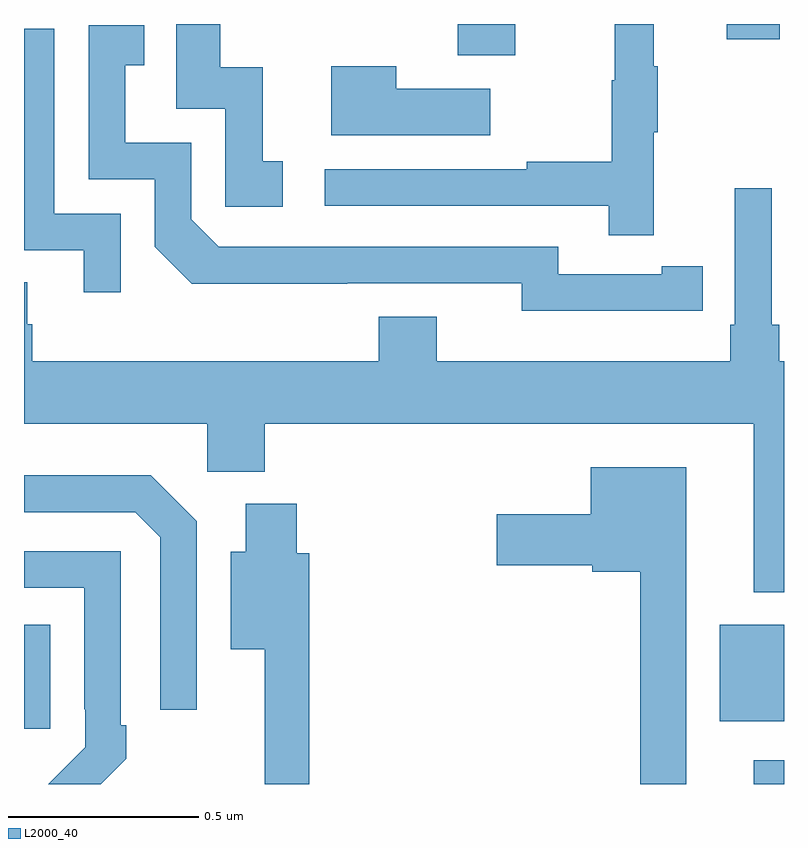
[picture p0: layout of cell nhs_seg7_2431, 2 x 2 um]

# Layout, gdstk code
import gdstk
lib = gdstk.Library(unit=1e-6, precision=1e-09)
def R(c, l, rs):  # rectangles x0, y0, x1, y1
    for r in rs: c.add(gdstk.rectangle(r[:2], r[2:], *l))
def P(c, l, *ps):  # polygons
    for p in ps: c.add(gdstk.Polygon(p, *l))
L2000_40 = (2000, 40)

nhs_seg7_2431 = lib.new_cell('nhs_seg7_2431')
R(nhs_seg7_2431, L2000_40, [(146.921,1001,147,1001.062), (145,1001.145,145.069,1001.419), (146.831,1001.165,147,1001.419), (146.141,1002.918,146.293,1003), (146.849,1002.96,146.989,1003)])
P(nhs_seg7_2431, L2000_40, [(145.681,1002.639),(145.628,1002.639),(145.628,1002.886),(145.517,1002.886),(145.517,1003),(145.401,1003),(145.401,1002.777),(145.53,1002.777),(145.53,1002.519),(145.681,1002.519)],
  [(146.657,1002.715),(146.668,1002.715),(146.668,1002.889),(146.657,1002.889),(146.657,1003),(146.554,1003),(146.554,1002.852),(146.547,1002.852),(146.547,1002.638),(146.323,1002.638),(146.323,1002.618),(145.791,1002.618),(145.791,1002.522),(146.539,1002.522),(146.539,1002.444),(146.657,1002.444)],
  [(146.678,1002.246),(146.786,1002.246),(146.786,1002.362),(146.678,1002.362),(146.678,1002.342),(146.406,1002.342),(146.406,1002.414),(145.512,1002.414),(145.44,1002.486),(145.44,1002.687),(145.267,1002.687),(145.267,1002.891),(145.316,1002.891),(145.316,1002.997),(145.17,1002.997),(145.17,1002.591),(145.344,1002.591),(145.344,1002.414),(145.442,1002.317),(145.85,1002.317),(145.85,1002.318),(146.31,1002.318),(146.31,1002.245),(146.678,1002.245)],
  [(145.254,1002.501),(145.08,1002.501),(145.08,1002.987),(145,1002.987),(145,1002.405),(145.157,1002.405),(145.157,1002.294),(145.254,1002.294)],
  [(146.227,1002.829),(145.979,1002.829),(145.979,1002.889),(145.808,1002.889),(145.808,1002.707),(146.227,1002.707)],
  [(147,1002.112),(146.987,1002.112),(146.987,1002.208),(146.968,1002.208),(146.968,1002.568),(146.871,1002.568),(146.871,1002.208),(146.858,1002.208),(146.858,1002.112),(146.086,1002.112),(146.086,1002.229),(145.934,1002.229),(145.934,1002.112),(145.022,1002.112),(145.022,1002.21),(145.009,1002.21),(145.009,1002.32),(145,1002.32),(145,1001.948),(145.482,1001.948),(145.482,1001.822),(145.634,1001.822),(145.634,1001.948),(146.921,1001.948),(146.921,1001.504),(147,1001.504)],
  [(146.743,1001.833),(146.492,1001.833),(146.492,1001.71),(146.244,1001.71),(146.244,1001.576),(146.496,1001.576),(146.496,1001.558),(146.622,1001.558),(146.622,1001),(146.743,1001)],
  [(145.455,1001.691),(145.334,1001.812),(145,1001.812),(145,1001.715),(145.293,1001.715),(145.359,1001.649),(145.359,1001.196),(145.455,1001.196)],
  [(145.751,1001.607),(145.718,1001.607),(145.718,1001.737),(145.583,1001.737),(145.583,1001.611),(145.544,1001.611),(145.544,1001.354),(145.634,1001.354),(145.634,1001),(145.751,1001)],
  [(145.269,1001.067),(145.269,1001.155),(145.254,1001.155),(145.254,1001.613),(145,1001.613),(145,1001.517),(145.158,1001.517),(145.158,1001.197),(145.161,1001.197),(145.161,1001.097),(145.064,1001),(145.202,1001)])

lib.write_gds('nhs_seg7_2431.gds')
